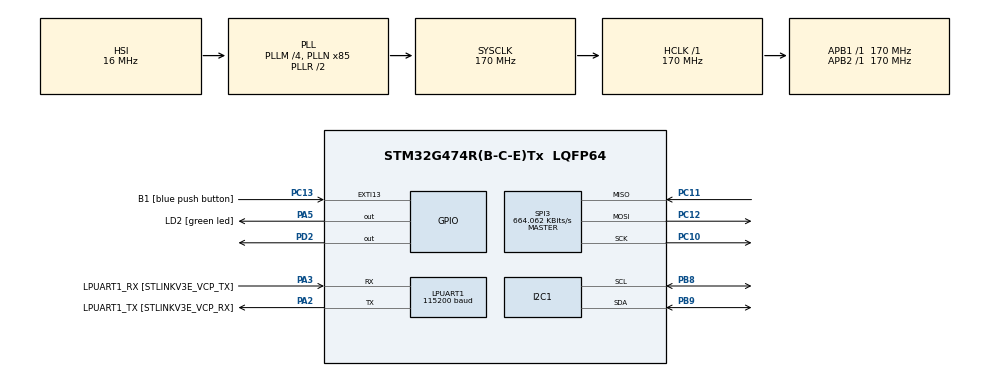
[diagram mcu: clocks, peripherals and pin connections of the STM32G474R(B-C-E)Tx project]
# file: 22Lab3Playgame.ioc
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Dma.I2C1_RX.0.Direction=DMA_PERIPH_TO_MEMORY
Dma.I2C1_RX.0.EventEnable=DISABLE
Dma.I2C1_RX.0.Instance=DMA1_Channel1
Dma.I2C1_RX.0.MemDataAlignment=DMA_MDATAALIGN_BYTE
Dma.I2C1_RX.0.MemInc=DMA_MINC_ENABLE
Dma.I2C1_RX.0.Mode=DMA_NORMAL
Dma.I2C1_RX.0.PeriphDataAlignment=DMA_PDATAALIGN_BYTE
Dma.I2C1_RX.0.PeriphInc=DMA_PINC_DISABLE
Dma.I2C1_RX.0.Polarity=HAL_DMAMUX_REQ_GEN_RISING
Dma.I2C1_RX.0.Priority=DMA_PRIORITY_LOW
Dma.I2C1_RX.0.RequestNumber=1
Dma.I2C1_RX.0.SignalID=NONE
Dma.I2C1_RX.0.SyncEnable=DISABLE
Dma.I2C1_RX.0.SyncPolarity=HAL_DMAMUX_SYNC_NO_EVENT
Dma.I2C1_RX.0.SyncRequestNumber=1
Dma.I2C1_RX.0.SyncSignalID=NONE
Dma.I2C1_TX.1.Direction=DMA_MEMORY_TO_PERIPH
Dma.I2C1_TX.1.EventEnable=DISABLE
Dma.I2C1_TX.1.Instance=DMA1_Channel2
Dma.I2C1_TX.1.MemDataAlignment=DMA_MDATAALIGN_BYTE
Dma.I2C1_TX.1.MemInc=DMA_MINC_ENABLE
Dma.I2C1_TX.1.Mode=DMA_NORMAL
Dma.I2C1_TX.1.PeriphDataAlignment=DMA_PDATAALIGN_BYTE
Dma.I2C1_TX.1.PeriphInc=DMA_PINC_DISABLE
Dma.I2C1_TX.1.Polarity=HAL_DMAMUX_REQ_GEN_RISING
Dma.I2C1_TX.1.Priority=DMA_PRIORITY_LOW
Dma.I2C1_TX.1.RequestNumber=1
Dma.I2C1_TX.1.SignalID=NONE
Dma.I2C1_TX.1.SyncEnable=DISABLE
Dma.I2C1_TX.1.SyncPolarity=HAL_DMAMUX_SYNC_NO_EVENT
Dma.I2C1_TX.1.SyncRequestNumber=1
Dma.I2C1_TX.1.SyncSignalID=NONE
Dma.Request0=I2C1_RX
Dma.Request1=I2C1_TX
I2C1.Timing=0x30A0A7FB
LPUART1.BaudRate=115200
LPUART1.WordLength=UART_WORDLENGTH_8B
Mcu.Family=STM32G4
Mcu.Name=STM32G474R(B-C-E)Tx
Mcu.Package=LQFP64
NVIC.DMA1_Channel1_IRQn=true\:0\:0\:false\:false\:true\:false\:true\:true
NVIC.DMA1_Channel2_IRQn=true\:0\:0\:false\:false\:true\:false\:true\:true
NVIC.EXTI15_10_IRQn=true\:0\:0\:false\:false\:true\:true\:true\:true
NVIC.I2C1_ER_IRQn=true\:0\:0\:false\:false\:true\:true\:true\:true
NVIC.I2C1_EV_IRQn=true\:0\:0\:false\:false\:true\:true\:true\:true
NVIC.PriorityGroup=NVIC_PRIORITYGROUP_4
NVIC.SPI3_IRQn=true\:0\:0\:false\:false\:true\:true\:true\:true
NVIC.TIM3_IRQn=true\:0\:0\:false\:false\:true\:true\:true\:true
PA13.GPIO_Label=T_SWDIO
PA13.Mode=Serial_Wire
PA13.Signal=SYS_JTMS-SWDIO
PA14.GPIO_Label=T_SWCLK
PA14.Mode=Serial_Wire
PA14.Signal=SYS_JTCK-SWCLK
PA2.GPIO_Label=LPUART1_TX [STLINKV3E_VCP_RX]
PA2.Mode=Asynchronous
PA2.Signal=LPUART1_TX
PA3.GPIO_Label=LPUART1_RX [STLINKV3E_VCP_TX]
PA3.Mode=Asynchronous
PA3.Signal=LPUART1_RX
PA5.GPIO_Label=LD2 [green led]
PA5.Signal=GPIO_Output
PB3.GPIO_Label=T_SWO
PB3.Signal=SYS_JTDO-SWO
PB8-BOOT0.Mode=I2C
PB8-BOOT0.Signal=I2C1_SCL
PB9.Mode=I2C
PB9.Signal=I2C1_SDA
PC10.Mode=Full_Duplex_Master
PC10.Signal=SPI3_SCK
PC11.Mode=Full_Duplex_Master
PC11.Signal=SPI3_MISO
PC12.Mode=Full_Duplex_Master
PC12.Signal=SPI3_MOSI
PC13.GPIO_Label=B1 [blue push button]
PC13.Signal=GPXTI13
PC14-OSC32_IN.Mode=LSE-External-Oscillator
PC14-OSC32_IN.Signal=RCC_OSC32_IN
PC15-OSC32_OUT.Mode=LSE-External-Oscillator
PC15-OSC32_OUT.Signal=RCC_OSC32_OUT
PD2.Signal=GPIO_Output
PF0-OSC_IN.Mode=HSE-External-Oscillator
PF0-OSC_IN.Signal=RCC_OSC_IN
PF1-OSC_OUT.Mode=HSE-External-Oscillator
PF1-OSC_OUT.Signal=RCC_OSC_OUT
ProjectManager.HeapSize=0x200
ProjectManager.StackSize=0x400
ProjectManager.TargetToolchain=STM32CubeIDE
RCC.ADC12Freq_Value=170000000
RCC.ADC345Freq_Value=170000000
RCC.AHBFreq_Value=170000000
RCC.APB1Freq_Value=170000000
RCC.APB1TimFreq_Value=170000000
RCC.APB2Freq_Value=170000000
RCC.APB2TimFreq_Value=170000000
RCC.CortexFreq_Value=170000000
RCC.EXTERNAL_CLOCK_VALUE=12288000
RCC.HCLKFreq_Value=170000000
RCC.HSE_VALUE=24000000
RCC.HSI48_VALUE=48000000
RCC.HSI_VALUE=16000000
RCC.PLLM=RCC_PLLM_DIV4
RCC.PLLN=85
RCC.RTCClockSelection=RCC_RTCCLKSOURCE_LSE
RCC.SYSCLKFreq_VALUE=170000000
RCC.SYSCLKSource=RCC_SYSCLKSOURCE_PLLCLK
RCC.USBFreq_Value=170000000
RCC.VCOOutputFreq_Value=340000000
SPI3.BaudRatePrescaler=SPI_BAUDRATEPRESCALER_256
SPI3.CalculateBaudRate=664.062 KBits/s
SPI3.DataSize=SPI_DATASIZE_8BIT
SPI3.Direction=SPI_DIRECTION_2LINES
SPI3.Mode=SPI_MODE_MASTER
SPI3.VirtualType=VM_MASTER
TIM1.PeriodNoDither=499
TIM1.Prescaler=16999
TIM2.PeriodNoDither=999
TIM2.Prescaler=1699
TIM3.PeriodNoDither=9999
TIM3.Prescaler=16999
VP_SYS_VS_DBSignals.Mode=DisableDeadBatterySignals
VP_TIM1_VS_ClockSourceINT.Mode=Internal
VP_TIM2_VS_ClockSourceINT.Mode=Internal
VP_TIM3_VS_ClockSourceINT.Mode=Internal
board=NUCLEO-G474RE

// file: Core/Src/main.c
/* USER CODE BEGIN Header */
/**
  ******************************************************************************
  * @file           : main.c
  * @brief          : Main program body
  ******************************************************************************
  * @attention
  *
  * Copyright (c) 2024 STMicroelectronics.
  * All rights reserved.
  *
  * This software is licensed under terms that can be found in the LICENSE file
  * in the root directory of this software component.
  * If no LICENSE file comes with this software, it is provided AS-IS.
  *
  ******************************************************************************
  */
/* USER CODE END Header */
#include "main.h"

/* USER CODE BEGIN PD */
#define EEPROM_ADDR 0b10100000
/* USER CODE END PD */

I2C_HandleTypeDef hi2c1;
DMA_HandleTypeDef hdma_i2c1_rx;
DMA_HandleTypeDef hdma_i2c1_tx;

UART_HandleTypeDef hlpuart1;

SPI_HandleTypeDef hspi3;

TIM_HandleTypeDef htim1;
TIM_HandleTypeDef htim2;
TIM_HandleTypeDef htim3;

/* USER CODE BEGIN PV */
uint8_t eepromExampleWriteFlag = 0;
uint8_t eepromExampleReadFlag = 0;
uint8_t eepromDataReadBack[6];
static uint8_t data[6] = {0,0x53,0x43,0x4F,0x52,0x45};

uint8_t SPIRx[10];
uint8_t SPITx[10];
uint8_t Mode;
uint8_t Switch = 1;
uint8_t LMode1 = 1;

int Time;
uint32_t Random_Number[50] = {3,2,3,4,2,3,1,4,2,3,1,2,3,4,2,3,2,1,4,2,3,1,4,2,3,4,1,2,3,2,1,2,3,4,3,2,3,4,3,2,1,4,3,4,2,4,1,4,3,2} ;
int i = 0;
int Pattern_Count = 0;
uint32_t Pattern_Sol[50]; //correct pattern
uint32_t Pattern_Check[50]; //pattern you play
int State ; //0 for display 1 for play
int Numcheck_Count; // to check if you trick all the button
int test;
int Nub;
int click;
int wrong;
/* USER CODE END PV */

void SystemClock_Config(void);
static void MX_GPIO_Init(void);
static void MX_DMA_Init(void);
static void MX_LPUART1_UART_Init(void);
static void MX_TIM2_Init(void);
static void MX_SPI3_Init(void);
static void MX_TIM1_Init(void);
static void MX_TIM3_Init(void);
static void MX_I2C1_Init(void);
/* USER CODE BEGIN PFP */
void SPITxRx_Setup();
void SPITxRx_readIO();
void IODIRB_Setup();
void ReadSwitch();
void LED_From();
void Game();
/* USER CODE END PFP */

int main(void)
{

  /* MCU Configuration--------------------------------------------------------*/

  /* Reset of all peripherals, Initializes the Flash interface and the Systick. */
  HAL_Init();

  /* Configure the system clock */
  SystemClock_Config();

  /* Initialize all configured peripherals */
  MX_GPIO_Init();
  MX_DMA_Init();
  MX_LPUART1_UART_Init();
  MX_TIM2_Init();
  MX_SPI3_Init();
  MX_TIM1_Init();
  MX_TIM3_Init();
  MX_I2C1_Init();
  /* USER CODE BEGIN 2 */
  //  SPITxRx_Setup();//for mode 1,1
    IODIRB_Setup();
    HAL_TIM_Base_Start_IT(&htim3);

  /* USER CODE END 2 */

  /* Infinite loop */
  while (1)
  {

    /* USER CODE BEGIN 3 */
	  SPITxRx_readIO();
	  Game();
	  //Time = HAL_GetTick();
	  }
  /* USER CODE END 3 */
}

void SystemClock_Config(void)
{
  RCC_OscInitTypeDef RCC_OscInitStruct = {0};
  RCC_ClkInitTypeDef RCC_ClkInitStruct = {0};

  /** Configure the main internal regulator output voltage
  */
  HAL_PWREx_ControlVoltageScaling(PWR_REGULATOR_VOLTAGE_SCALE1_BOOST);

  /** Initializes the RCC Oscillators according to the specified parameters
  * in the RCC_OscInitTypeDef structure.
  */
  RCC_OscInitStruct.OscillatorType = RCC_OSCILLATORTYPE_HSI;
  RCC_OscInitStruct.HSIState = RCC_HSI_ON;
  RCC_OscInitStruct.HSICalibrationValue = RCC_HSICALIBRATION_DEFAULT;
  RCC_OscInitStruct.PLL.PLLState = RCC_PLL_ON;
  RCC_OscInitStruct.PLL.PLLSource = RCC_PLLSOURCE_HSI;
  RCC_OscInitStruct.PLL.PLLM = RCC_PLLM_DIV4;
  RCC_OscInitStruct.PLL.PLLN = 85;
  RCC_OscInitStruct.PLL.PLLP = RCC_PLLP_DIV2;
  RCC_OscInitStruct.PLL.PLLQ = RCC_PLLQ_DIV2;
  RCC_OscInitStruct.PLL.PLLR = RCC_PLLR_DIV2;
  if (HAL_RCC_OscConfig(&RCC_OscInitStruct) != HAL_OK)
  {
    Error_Handler();
  }

  /** Initializes the CPU, AHB and APB buses clocks
  */
  RCC_ClkInitStruct.ClockType = RCC_CLOCKTYPE_HCLK|RCC_CLOCKTYPE_SYSCLK
                              |RCC_CLOCKTYPE_PCLK1|RCC_CLOCKTYPE_PCLK2;
  RCC_ClkInitStruct.SYSCLKSource = RCC_SYSCLKSOURCE_PLLCLK;
  RCC_ClkInitStruct.AHBCLKDivider = RCC_SYSCLK_DIV1;
  RCC_ClkInitStruct.APB1CLKDivider = RCC_HCLK_DIV1;
  RCC_ClkInitStruct.APB2CLKDivider = RCC_HCLK_DIV1;

  if (HAL_RCC_ClockConfig(&RCC_ClkInitStruct, FLASH_LATENCY_4) != HAL_OK)
  {
    Error_Handler();
  }
}

static void MX_I2C1_Init(void)
{

  hi2c1.Instance = I2C1;
  hi2c1.Init.Timing = 0x30A0A7FB;
  hi2c1.Init.OwnAddress1 = 0;
  hi2c1.Init.AddressingMode = I2C_ADDRESSINGMODE_7BIT;
  hi2c1.Init.DualAddressMode = I2C_DUALADDRESS_DISABLE;
  hi2c1.Init.OwnAddress2 = 0;
  hi2c1.Init.OwnAddress2Masks = I2C_OA2_NOMASK;
  hi2c1.Init.GeneralCallMode = I2C_GENERALCALL_DISABLE;
  hi2c1.Init.NoStretchMode = I2C_NOSTRETCH_DISABLE;
  if (HAL_I2C_Init(&hi2c1) != HAL_OK)
  {
    Error_Handler();
  }

  /** Configure Analogue filter
  */
  if (HAL_I2CEx_ConfigAnalogFilter(&hi2c1, I2C_ANALOGFILTER_ENABLE) != HAL_OK)
  {
    Error_Handler();
  }

  /** Configure Digital filter
  */
  if (HAL_I2CEx_ConfigDigitalFilter(&hi2c1, 0) != HAL_OK)
  {
    Error_Handler();
  }

}

static void MX_LPUART1_UART_Init(void)
{

  hlpuart1.Instance = LPUART1;
  hlpuart1.Init.BaudRate = 115200;
  hlpuart1.Init.WordLength = UART_WORDLENGTH_8B;
  hlpuart1.Init.StopBits = UART_STOPBITS_1;
  hlpuart1.Init.Parity = UART_PARITY_NONE;
  hlpuart1.Init.Mode = UART_MODE_TX_RX;
  hlpuart1.Init.HwFlowCtl = UART_HWCONTROL_NONE;
  hlpuart1.Init.OneBitSampling = UART_ONE_BIT_SAMPLE_DISABLE;
  hlpuart1.Init.ClockPrescaler = UART_PRESCALER_DIV1;
  hlpuart1.AdvancedInit.AdvFeatureInit = UART_ADVFEATURE_NO_INIT;
  if (HAL_UART_Init(&hlpuart1) != HAL_OK)
  {
    Error_Handler();
  }
  if (HAL_UARTEx_SetTxFifoThreshold(&hlpuart1, UART_TXFIFO_THRESHOLD_1_8) != HAL_OK)
  {
    Error_Handler();
  }
  if (HAL_UARTEx_SetRxFifoThreshold(&hlpuart1, UART_RXFIFO_THRESHOLD_1_8) != HAL_OK)
  {
    Error_Handler();
  }
  if (HAL_UARTEx_DisableFifoMode(&hlpuart1) != HAL_OK)
  {
    Error_Handler();
  }

}

static void MX_SPI3_Init(void)
{

  /* SPI3 parameter configuration*/
  hspi3.Instance = SPI3;
  hspi3.Init.Mode = SPI_MODE_MASTER;
  hspi3.Init.Direction = SPI_DIRECTION_2LINES;
  hspi3.Init.DataSize = SPI_DATASIZE_8BIT;
  hspi3.Init.CLKPolarity = SPI_POLARITY_LOW;
  hspi3.Init.CLKPhase = SPI_PHASE_1EDGE;
  hspi3.Init.NSS = SPI_NSS_SOFT;
  hspi3.Init.BaudRatePrescaler = SPI_BAUDRATEPRESCALER_256;
  hspi3.Init.FirstBit = SPI_FIRSTBIT_MSB;
  hspi3.Init.TIMode = SPI_TIMODE_DISABLE;
  hspi3.Init.CRCCalculation = SPI_CRCCALCULATION_DISABLE;
  hspi3.Init.CRCPolynomial = 7;
  hspi3.Init.CRCLength = SPI_CRC_LENGTH_DATASIZE;
  hspi3.Init.NSSPMode = SPI_NSS_PULSE_ENABLE;
  if (HAL_SPI_Init(&hspi3) != HAL_OK)
  {
    Error_Handler();
  }

}

static void MX_TIM1_Init(void)
{

  TIM_ClockConfigTypeDef sClockSourceConfig = {0};
  TIM_MasterConfigTypeDef sMasterConfig = {0};

  htim1.Instance = TIM1;
  htim1.Init.Prescaler = 16999;
  htim1.Init.CounterMode = TIM_COUNTERMODE_UP;
  htim1.Init.Period = 499;
  htim1.Init.ClockDivision = TIM_CLOCKDIVISION_DIV1;
  htim1.Init.RepetitionCounter = 0;
  htim1.Init.AutoReloadPreload = TIM_AUTORELOAD_PRELOAD_DISABLE;
  if (HAL_TIM_Base_Init(&htim1) != HAL_OK)
  {
    Error_Handler();
  }
  sClockSourceConfig.ClockSource = TIM_CLOCKSOURCE_INTERNAL;
  if (HAL_TIM_ConfigClockSource(&htim1, &sClockSourceConfig) != HAL_OK)
  {
    Error_Handler();
  }
  sMasterConfig.MasterOutputTrigger = TIM_TRGO_RESET;
  sMasterConfig.MasterOutputTrigger2 = TIM_TRGO2_RESET;
  sMasterConfig.MasterSlaveMode = TIM_MASTERSLAVEMODE_DISABLE;
  if (HAL_TIMEx_MasterConfigSynchronization(&htim1, &sMasterConfig) != HAL_OK)
  {
    Error_Handler();
  }

}

static void MX_TIM2_Init(void)
{

  TIM_ClockConfigTypeDef sClockSourceConfig = {0};
  TIM_MasterConfigTypeDef sMasterConfig = {0};

  htim2.Instance = TIM2;
  htim2.Init.Prescaler = 1699;
  htim2.Init.CounterMode = TIM_COUNTERMODE_UP;
  htim2.Init.Period = 999;
  htim2.Init.ClockDivision = TIM_CLOCKDIVISION_DIV1;
  htim2.Init.AutoReloadPreload = TIM_AUTORELOAD_PRELOAD_DISABLE;
  if (HAL_TIM_Base_Init(&htim2) != HAL_OK)
  {
    Error_Handler();
  }
  sClockSourceConfig.ClockSource = TIM_CLOCKSOURCE_INTERNAL;
  if (HAL_TIM_ConfigClockSource(&htim2, &sClockSourceConfig) != HAL_OK)
  {
    Error_Handler();
  }
  sMasterConfig.MasterOutputTrigger = TIM_TRGO_RESET;
  sMasterConfig.MasterSlaveMode = TIM_MASTERSLAVEMODE_DISABLE;
  if (HAL_TIMEx_MasterConfigSynchronization(&htim2, &sMasterConfig) != HAL_OK)
  {
    Error_Handler();
  }

}

static void MX_TIM3_Init(void)
{

  TIM_ClockConfigTypeDef sClockSourceConfig = {0};
  TIM_MasterConfigTypeDef sMasterConfig = {0};

  htim3.Instance = TIM3;
  htim3.Init.Prescaler = 16999;
  htim3.Init.CounterMode = TIM_COUNTERMODE_UP;
  htim3.Init.Period = 9999;
  htim3.Init.ClockDivision = TIM_CLOCKDIVISION_DIV1;
  htim3.Init.AutoReloadPreload = TIM_AUTORELOAD_PRELOAD_DISABLE;
  if (HAL_TIM_Base_Init(&htim3) != HAL_OK)
  {
    Error_Handler();
  }
  sClockSourceConfig.ClockSource = TIM_CLOCKSOURCE_INTERNAL;
  if (HAL_TIM_ConfigClockSource(&htim3, &sClockSourceConfig) != HAL_OK)
  {
    Error_Handler();
  }
  sMasterConfig.MasterOutputTrigger = TIM_TRGO_RESET;
  sMasterConfig.MasterSlaveMode = TIM_MASTERSLAVEMODE_DISABLE;
  if (HAL_TIMEx_MasterConfigSynchronization(&htim3, &sMasterConfig) != HAL_OK)
  {
    Error_Handler();
  }

}

static void MX_DMA_Init(void)
{

  /* DMA controller clock enable */
  __HAL_RCC_DMAMUX1_CLK_ENABLE();
  __HAL_RCC_DMA1_CLK_ENABLE();

  /* DMA interrupt init */
  /* DMA1_Channel1_IRQn interrupt configuration */
  HAL_NVIC_SetPriority(DMA1_Channel1_IRQn, 0, 0);
  HAL_NVIC_EnableIRQ(DMA1_Channel1_IRQn);
  /* DMA1_Channel2_IRQn interrupt configuration */
  HAL_NVIC_SetPriority(DMA1_Channel2_IRQn, 0, 0);
  HAL_NVIC_EnableIRQ(DMA1_Channel2_IRQn);

}

static void MX_GPIO_Init(void)
{
  GPIO_InitTypeDef GPIO_InitStruct = {0};

  /* GPIO Ports Clock Enable */
  __HAL_RCC_GPIOC_CLK_ENABLE();
  __HAL_RCC_GPIOF_CLK_ENABLE();
  __HAL_RCC_GPIOA_CLK_ENABLE();
  __HAL_RCC_GPIOD_CLK_ENABLE();
  __HAL_RCC_GPIOB_CLK_ENABLE();

  /*Configure GPIO pin Output Level */
  HAL_GPIO_WritePin(LD2_GPIO_Port, LD2_Pin, GPIO_PIN_RESET);

  /*Configure GPIO pin Output Level */
  HAL_GPIO_WritePin(GPIOD, GPIO_PIN_2, GPIO_PIN_RESET);

  /*Configure GPIO pin : B1_Pin */
  GPIO_InitStruct.Pin = B1_Pin;
  GPIO_InitStruct.Mode = GPIO_MODE_IT_RISING;
  GPIO_InitStruct.Pull = GPIO_NOPULL;
  HAL_GPIO_Init(B1_GPIO_Port, &GPIO_InitStruct);

  /*Configure GPIO pin : LD2_Pin */
  GPIO_InitStruct.Pin = LD2_Pin;
  GPIO_InitStruct.Mode = GPIO_MODE_OUTPUT_PP;
  GPIO_InitStruct.Pull = GPIO_NOPULL;
  GPIO_InitStruct.Speed = GPIO_SPEED_FREQ_LOW;
  HAL_GPIO_Init(LD2_GPIO_Port, &GPIO_InitStruct);

  /*Configure GPIO pin : PD2 */
  GPIO_InitStruct.Pin = GPIO_PIN_2;
  GPIO_InitStruct.Mode = GPIO_MODE_OUTPUT_PP;
  GPIO_InitStruct.Pull = GPIO_NOPULL;
  GPIO_InitStruct.Speed = GPIO_SPEED_FREQ_LOW;
  HAL_GPIO_Init(GPIOD, &GPIO_InitStruct);

  /* EXTI interrupt init*/
  HAL_NVIC_SetPriority(EXTI15_10_IRQn, 0, 0);
  HAL_NVIC_EnableIRQ(EXTI15_10_IRQn);

}

/* USER CODE BEGIN 4 */
void EEPROMWriteExample() {
if (eepromExampleWriteFlag && hi2c1.State == HAL_I2C_STATE_READY) {
//static uint8_t data[5] = { 0x67, 0x62, 0x5F, 0x4E, 0x57 };
HAL_I2C_Mem_Write_IT(&hi2c1, EEPROM_ADDR, 0x2C, I2C_MEMADD_SIZE_16BIT,data, 6);
eepromExampleWriteFlag = 0;
	}
}

void EEPROMReadExample(uint8_t *Rdata, uint16_t len) {
if (eepromExampleReadFlag && hi2c1.State == HAL_I2C_STATE_READY) {
HAL_I2C_Mem_Read_IT(&hi2c1, EEPROM_ADDR, 0x2c, I2C_MEMADD_SIZE_16BIT,Rdata, len);
eepromExampleReadFlag = 0;
	}
}

//void SPITxRx_Setup()
//{
////CS pulse
//HAL_GPIO_WritePin(GPIOD, GPIO_PIN_2, 0); // CS Select
//HAL_Delay(1);
//HAL_GPIO_WritePin(GPIOD, GPIO_PIN_2, 1); // CS deSelect
//HAL_Delay(1);
//}

void IODIRB_Setup()//at BEGIN 2
{
	HAL_GPIO_WritePin(GPIOD, GPIO_PIN_2, 0);
	SPITx[0] = 0b01000000;//write
	SPITx[1] = 0x01;//IODIRB
	SPITx[2] = 0b00000000;
	HAL_SPI_TransmitReceive_IT(&hspi3, SPITx, SPIRx, 3);
}

void SPITxRx_readIO()
{
	if(HAL_GPIO_ReadPin(GPIOD,GPIO_PIN_2))
	{
		HAL_GPIO_WritePin(GPIOD, GPIO_PIN_2, 0); // CS Select
		if (Mode == 0)
		{
			SPITx[0] = 0b01000001;//read
			SPITx[1] = 0x12;
			SPITx[2] = 0;
		}
		else if(Mode == 1)
		{
			Game();
		}
		HAL_SPI_TransmitReceive_IT(&hspi3, SPITx, SPIRx, 3);
	}
}

void Game()
{
	if (State == 3)
	{
		SPITx[0] = 0b01000000;//write
		SPITx[1] = 0x15;//OLATB
		SPITx[2] = 0b00000000;
		HAL_Delay(1000);
//		eepromExampleWriteFlag = 1;
//		EEPROMWriteExample();
		eepromExampleReadFlag = 1;
		EEPROMReadExample(eepromDataReadBack,6);

	}
	if (State == 1)
		{
			if (SPIRx[2]==240)
			{
				click = 0;
			}
			if (SPIRx[2]==224 && click == 0)
				{
				click = 1;
				Pattern_Check[Nub] = 1;
				Pattern_Sol[Numcheck_Count-1] = Random_Number[Numcheck_Count-1];
				Switch = 1;
				Nub = Nub + 1;
				HAL_Delay(100);
				if (Random_Number[Nub-1] != 2)
					{
					wrong = 1;
					State = 3;
					//Nub = 0;
					//Numcheck_Count = 0;
					//i = 0;
					}
				}
			else if (SPIRx[2]==208 && click == 0)
				{
				click = 1;
				Pattern_Check[Nub] = 2;
				Pattern_Sol[Numcheck_Count-1] = Random_Number[Numcheck_Count-1];
				Switch = 2;
				Nub = Nub + 1;
				HAL_Delay(100);
				if (Random_Number[Nub-1] != 2)
					{
					wrong = 1;
					State = 3;
					//Nub = 0;
					//Numcheck_Count = 0;
					//i = 0;
					}
				}
			else if (SPIRx[2]==112 && click == 0)
				{
				click = 1;
				Pattern_Check[Nub] = 3;
				Pattern_Sol[Numcheck_Count-1] = Random_Number[Numcheck_Count-1];
				Switch = 3;
				Nub = Nub + 1;
				HAL_Delay(100);
				if (Random_Number[Nub-1] != 3)
					{
					wrong = 1;
					State = 3;
					//Nub = 0;
					//Numcheck_Count = 0;
					//i = 0;
					}
				}
			else if (SPIRx[2]==127 && click == 0)
				{
				click = 1;
				Pattern_Check[Nub] = 4;
				Pattern_Sol[Numcheck_Count-1] = Random_Number[Numcheck_Count-1];
				Switch = 4;
				Nub = Nub + 1;
				HAL_Delay(100);
				if (Random_Number[Nub-1] != 4)
					{
					wrong = 1;
					State = 3;
					//Nub = 0;
					//Numcheck_Count = 0;
					//i = 0;
					}
				}
			if (Nub > Numcheck_Count)
			{
				Nub = 0;
				State = 0;
				i = 0;
				Numcheck_Count = Numcheck_Count + 1;
			}
		}
	else if (State == 0)
		{
			SPITx[0] = 0b01000000;//write
			SPITx[1] = 0x15;//OLATB
			if (Random_Number[i] == 1)
			{
				SPITx[2] = 0b00111111;
				test =1;

			}
			else if (Random_Number[i] == 2)
			{
				SPITx[2] = 0b11001111;
				test =2;

			}
			else if (Random_Number[i] == 3)
			{
				SPITx[2] = 0b11110011;
				test =3;

			}
			else if (Random_Number[i] == 4)
			{
				SPITx[2] = 0b11111100;
				test =4;
			}
			if (i == Numcheck_Count+1)
			{
				State = 1;
			}
		}
	data[0] = Numcheck_Count;
	eepromExampleWriteFlag = 1;
	EEPROMWriteExample();
}

//void LED_From()
//{
//	if (Switch == 1)
//		{
//			SPITx[0] = 0b01000000;//write
//			SPITx[1] = 0x15;//OLATB
//			if (LMode1 == 1)
//				{
//				SPITx[2] = 0b11111110;
//				}
//			else if (LMode1 == 2)
//				{
//				SPITx[2] = 0b11111101;
//				}
//			else if (LMode1 == 3)
//				{
//				SPITx[2] = 0b11111011;
//				}
//			else if (LMode1 == 4)
//				{
//				SPITx[2] = 0b11110111;
//				}
//			else if (LMode1 == 5)
//				{
//				SPITx[2] = 0b11101111;
//				}
//			else if (LMode1 == 6)
//				{
//				SPITx[2] = 0b11011111;
//				}
//			else if (LMode1 == 7)
//				{
//				SPITx[2] = 0b10111111;
//				}
//			else if (LMode1 == 8)
//				{
//				SPITx[2] = 0b01111111;
//				}
//		}
//		else if (Switch == 2)
//		{
//			SPITx[0] = 0b01000000;//write
//			SPITx[1] = 0x15;//OLATB
//			if (LMode1 == 1)
//				{
//				SPITx[2] = 0b00000001;
//				}
//			else if (LMode1 == 2)
//				{
//				SPITx[2] = 0b00000010;
//				}
//			else if (LMode1 == 3)
//				{
//				SPITx[2] = 0b00000100;
//				}
//			else if (LMode1 == 4)
//				{
//				SPITx[2] = 0b00001000;
//				}
//			else if (LMode1 == 5)
//				{
//				SPITx[2] = 0b00010000;
//				}
//			else if (LMode1 == 6)
//				{
//				SPITx[2] = 0b00100000;
//				}
//			else if (LMode1 == 7)
//				{
//				SPITx[2] = 0b01000000;
//				}
//			else if (LMode1 == 8)
//				{
//				SPITx[2] = 0b10000000;
//				}
//		}
//
//}

void HAL_TIM_PeriodElapsedCallback(TIM_HandleTypeDef *htim)
{
	if (htim == &htim3)
	{
		i+=1;
		if (i > Numcheck_Count + 1)
		{
			i=0;
		}
	}
}

void HAL_SPI_TxRxCpltCallback(SPI_HandleTypeDef *hspi)
{
	Mode+=1;
	if (Mode>1)
	{
		Mode = 0;
	}
	HAL_GPIO_WritePin(GPIOD, GPIO_PIN_2, 1); //CS dnSelect
}

/* USER CODE END 4 */

void Error_Handler(void)
{
  __disable_irq();
  while (1)
  {
  }
}
